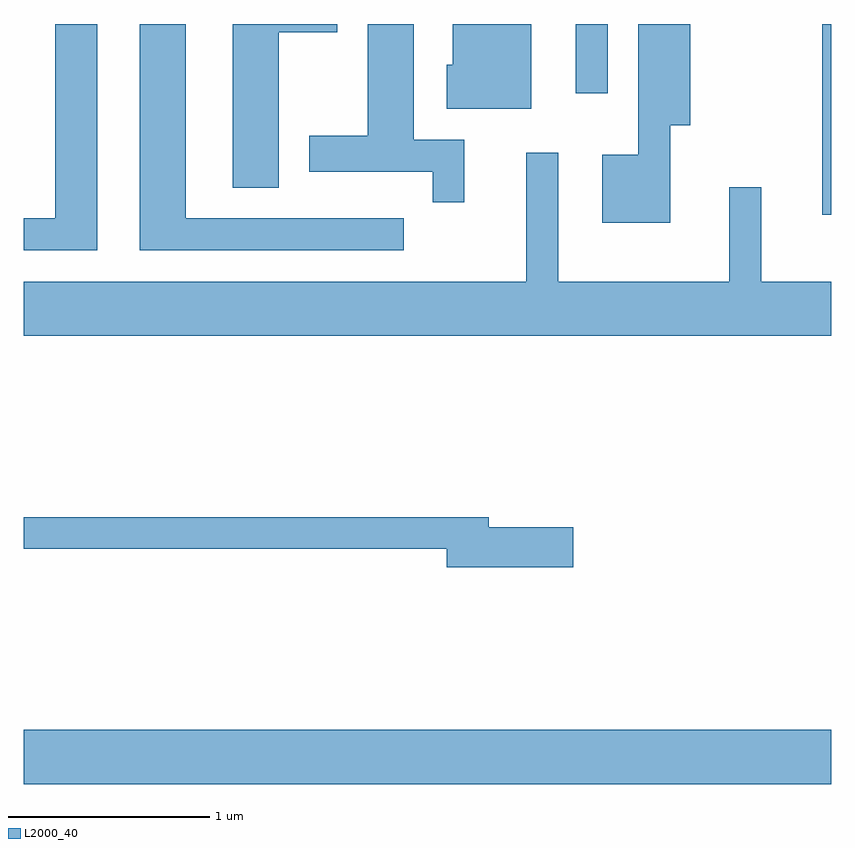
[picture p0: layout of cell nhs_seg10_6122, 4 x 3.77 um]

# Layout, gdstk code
import gdstk
lib = gdstk.Library(unit=1e-6, precision=1e-09)
def R(c, l, rs):  # rectangles x0, y0, x1, y1
    for r in rs: c.add(gdstk.rectangle(r[:2], r[2:], *l))
def P(c, l, *ps):  # polygons
    for p in ps: c.add(gdstk.Polygon(p, *l))
L2000_40 = (2000, 40)

nhs_seg10_6122 = lib.new_cell('nhs_seg10_6122')
R(nhs_seg10_6122, L2000_40, [(365.611,2162.756,369.611,2163.024), (369.566,2165.576,369.611,2166.522), (368.346,2166.178,368.504,2166.522)])
P(nhs_seg10_6122, L2000_40, [(368.124,2166.522),(367.736,2166.522),(367.736,2166.319),(367.706,2166.319),(367.706,2166.101),(368.124,2166.101)],
  [(367.493,2165.559),(366.414,2165.559),(366.414,2166.522),(366.186,2166.522),(366.186,2165.401),(367.493,2165.401)],
  [(368.814,2166.021),(368.914,2166.021),(368.914,2166.522),(368.656,2166.522),(368.656,2165.874),(368.476,2165.874),(368.476,2165.536),(368.814,2165.536)],
  [(366.874,2166.481),(367.164,2166.481),(367.164,2166.522),(366.646,2166.522),(366.646,2165.711),(366.874,2165.711)],
  [(365.974,2166.522),(365.766,2166.522),(365.766,2165.559),(365.611,2165.559),(365.611,2165.401),(365.974,2165.401)],
  [(367.794,2165.949),(367.544,2165.949),(367.544,2166.522),(367.316,2166.522),(367.316,2165.969),(367.026,2165.969),(367.026,2165.791),(367.636,2165.791),(367.636,2165.638),(367.794,2165.638)],
  [(369.611,2165.244),(369.264,2165.244),(369.264,2165.713),(369.106,2165.713),(369.106,2165.244),(368.259,2165.244),(368.259,2165.883),(368.101,2165.883),(368.101,2165.244),(365.611,2165.244),(365.611,2164.976),(369.611,2164.976)],
  [(368.334,2164.029),(367.914,2164.029),(367.914,2164.079),(365.611,2164.079),(365.611,2163.921),(367.706,2163.921),(367.706,2163.831),(368.334,2163.831)])

lib.write_gds('nhs_seg10_6122.gds')
